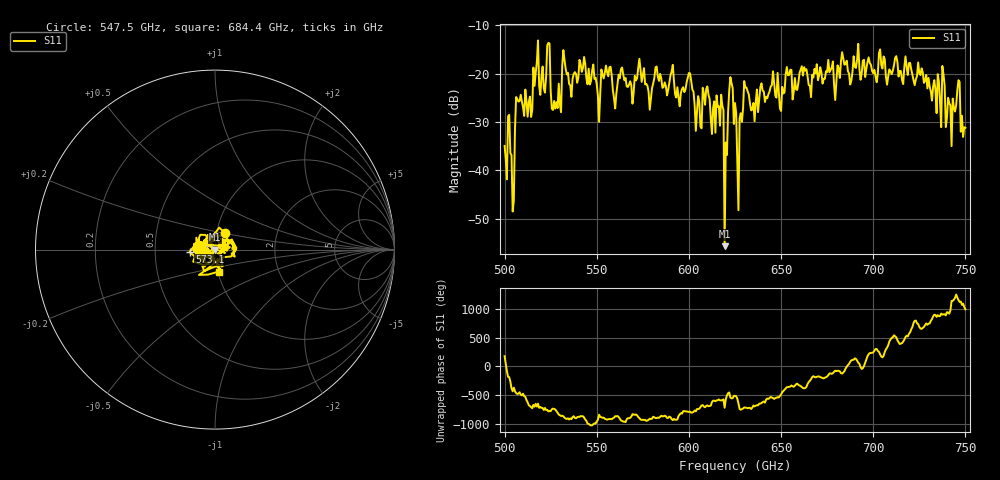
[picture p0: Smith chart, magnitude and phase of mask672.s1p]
!Created with skrf (http://scikit-rf.org).
# GHz S MA R 50.0
!freq magS11 angS11
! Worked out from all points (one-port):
!   401 points, 500 GHz to 750 GHz, reference 50 ohm
!   lowest |S11| = -55.7 dB at 619.4 GHz (marker M1), VSWR 1.00, Z = 50.2 + j0.00855 ohm
!   |S11| at or under -10 dB: start of sweep to end of sweep
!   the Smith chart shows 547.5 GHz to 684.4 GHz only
!   S11 on the Smith chart (normalised r, x): 547.5 GHz: 1.10, +0.21; 573.1 GHz: 0.75, -0.02; 684.4 GHz: 1.01, -0.25
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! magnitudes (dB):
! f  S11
! 500 GHz  -34.9
! 504.4 GHz  -48.5
! 507.5 GHz  -25.8
! 513.8 GHz  -24.7
! 516.9 GHz  -19.8
! 523.8 GHz  -13.6
! 526.9 GHz  -25.6
! 531.2 GHz  -18.3
! 547.5 GHz  -19.3
! 562.5 GHz  -20.9
! 573.1 GHz  -16.9
! 593.8 GHz  -22.8
! 600 GHz  -19.8
! 605 GHz  -24.6
! 617.5 GHz  -24.3
! 619.4 GHz  -55.7
! 620.6 GHz  -36.8
! 622.5 GHz  -20.7
! 625 GHz  -26.1
! 627.5 GHz  -29.3
! 631.2 GHz  -22.9
! 656.2 GHz  -25.3
! 684.4 GHz  -18.1
! 687.5 GHz  -22.2
! 718.8 GHz  -20.3
! 741.2 GHz  -26.1
! 745.6 GHz  -23.4
! 750 GHz  -31.2
